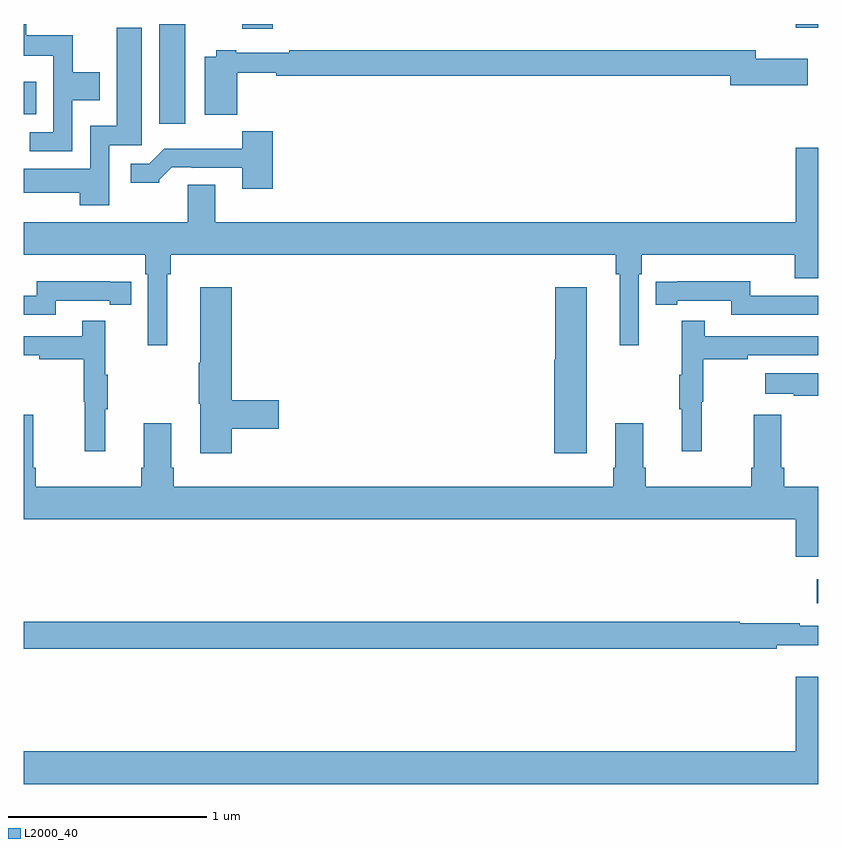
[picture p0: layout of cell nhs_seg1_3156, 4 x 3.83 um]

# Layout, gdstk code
import gdstk
lib = gdstk.Library(unit=1e-6, precision=1e-09)
def R(c, l, rs):  # rectangles x0, y0, x1, y1
    for r in rs: c.add(gdstk.rectangle(r[:2], r[2:], *l))
def P(c, l, *ps):  # polygons
    for p in ps: c.add(gdstk.Polygon(p, *l))
L2000_40 = (2000, 40)

nhs_seg1_3156 = lib.new_cell('nhs_seg1_3156')
R(nhs_seg1_3156, L2000_40, [(284.994,579.281,285,579.403), (281.681,581.697,281.812,582.199), (281,581.744,281.063,581.908), (282.101,582.174,282.254,582.199), (284.888,582.18,285,582.199)])
P(nhs_seg1_3156, L2000_40, [(281.244,581.816),(281.383,581.816),(281.383,581.956),(281.247,581.956),(281.247,582.142),(281.011,582.142),(281.011,582.199),(281,582.199),(281,582.038),(281.148,582.038),(281.148,581.655),(281.031,581.655),(281.031,581.559),(281.244,581.559)],
  [(281.43,581.589),(281.593,581.589),(281.593,582.181),(281.468,582.181),(281.468,581.686),(281.334,581.686),(281.334,581.47),(281,581.47),(281,581.348),(281.282,581.348),(281.282,581.286),(281.43,581.286)],
  [(282.074,581.953),(282.272,581.953),(282.272,581.938),(284.558,581.938),(284.558,581.891),(284.947,581.891),(284.947,582.025),(284.686,582.025),(284.686,582.067),(282.337,582.067),(282.337,582.054),(282.07,582.054),(282.07,582.067),(281.97,582.067),(281.97,582.034),(281.912,582.034),(281.912,581.741),(282.074,581.741)],
  [(282.254,581.659),(282.099,581.659),(282.099,581.572),(281.707,581.572),(281.631,581.496),(281.538,581.496),(281.538,581.399),(281.682,581.399),(281.682,581.414),(281.746,581.478),(281.845,581.478),(281.845,581.475),(282.101,581.475),(282.101,581.37),(282.254,581.37)],
  [(281.722,580.94),(281.741,580.94),(281.741,581.036),(283.981,581.036),(283.981,580.94),(284,580.94),(284,580.581),(284.097,580.581),(284.097,580.94),(284.111,580.94),(284.111,581.036),(284.882,581.036),(284.882,580.919),(285,580.919),(285,581.575),(284.888,581.575),(284.888,581.2),(281.965,581.2),(281.965,581.39),(281.825,581.39),(281.825,581.2),(281,581.2),(281,581.036),(281.612,581.036),(281.612,580.94),(281.625,580.94),(281.625,580.581),(281.722,580.581)],
  [(281.16,580.806),(281.432,580.806),(281.432,580.786),(281.54,580.786),(281.54,580.902),(281.432,580.902),(281.432,580.903),(281.064,580.903),(281.064,580.83),(281,580.83),(281,580.734),(281.16,580.734)],
  [(285,580.83),(284.658,580.83),(284.658,580.903),(284.29,580.903),(284.29,580.902),(284.182,580.902),(284.182,580.786),(284.29,580.786),(284.29,580.806),(284.562,580.806),(284.562,580.734),(285,580.734)],
  [(283.834,580.873),(283.676,580.873),(283.676,580.509),(283.67,580.509),(283.67,580.038),(283.834,580.038)],
  [(282.047,580.162),(282.283,580.162),(282.283,580.304),(282.047,580.304),(282.047,580.873),(281.888,580.873),(281.888,580.493),(281.881,580.493),(281.881,580.287),(281.888,580.287),(281.888,580.038),(282.047,580.038)],
  [(284.414,580.296),(284.422,580.296),(284.422,580.51),(284.645,580.51),(284.645,580.53),(285,580.53),(285,580.626),(284.429,580.626),(284.429,580.705),(284.312,580.705),(284.312,580.433),(284.301,580.433),(284.301,580.259),(284.312,580.259),(284.312,580.047),(284.414,580.047)],
  [(281.411,580.259),(281.422,580.259),(281.422,580.433),(281.411,580.433),(281.411,580.705),(281.293,580.705),(281.293,580.626),(281,580.626),(281,580.53),(281.077,580.53),(281.077,580.51),(281.301,580.51),(281.301,580.296),(281.308,580.296),(281.308,580.047),(281.411,580.047)],
  [(285,580.441),(284.733,580.441),(284.733,580.337),(284.876,580.337),(284.876,580.327),(285,580.327)],
  [(285,579.868),(284.828,579.868),(284.828,579.964),(284.815,579.964),(284.815,580.231),(284.675,580.231),(284.675,579.964),(284.663,579.964),(284.663,579.868),(284.132,579.868),(284.132,579.964),(284.119,579.964),(284.119,580.189),(283.979,580.189),(283.979,579.964),(283.967,579.964),(283.967,579.868),(281.756,579.868),(281.756,579.964),(281.743,579.964),(281.743,580.189),(281.603,580.189),(281.603,579.964),(281.591,579.964),(281.591,579.868),(281.06,579.868),(281.06,579.964),(281.047,579.964),(281.047,580.231),(281,580.231),(281,579.704),(284.888,579.704),(284.888,579.516),(285,579.516)],
  [(284.792,579.071),(285,579.071),(285,579.168),(284.906,579.168),(284.906,579.181),(284.606,579.181),(284.606,579.188),(281,579.188),(281,579.052),(284.792,579.052)],
  [(285,578.911),(284.888,578.911),(284.888,578.536),(281,578.536),(281,578.372),(285,578.372)])

lib.write_gds('nhs_seg1_3156.gds')
